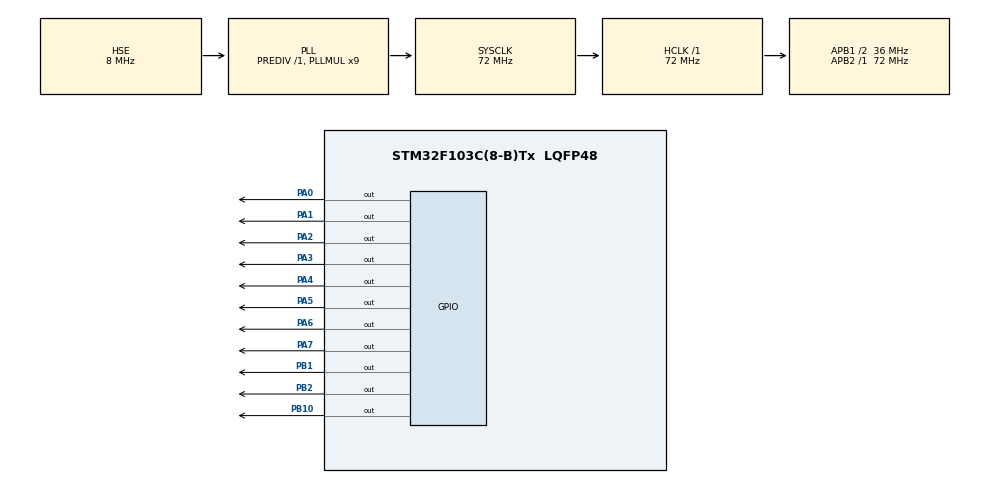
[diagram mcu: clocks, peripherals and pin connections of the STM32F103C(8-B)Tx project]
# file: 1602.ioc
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Mcu.Family=STM32F1
Mcu.Name=STM32F103C(8-B)Tx
Mcu.Package=LQFP48
NVIC.PriorityGroup=NVIC_PRIORITYGROUP_4
PA0-WKUP.Signal=GPIO_Output
PA1.Signal=GPIO_Output
PA13.Mode=Serial_Wire
PA13.Signal=SYS_JTMS-SWDIO
PA14.Mode=Serial_Wire
PA14.Signal=SYS_JTCK-SWCLK
PA2.Signal=GPIO_Output
PA3.Signal=GPIO_Output
PA4.Signal=GPIO_Output
PA5.Signal=GPIO_Output
PA6.Signal=GPIO_Output
PA7.Signal=GPIO_Output
PB1.Signal=GPIO_Output
PB10.Signal=GPIO_Output
PB2.Signal=GPIO_Output
PD0-OSC_IN.Mode=HSE-External-Oscillator
PD0-OSC_IN.Signal=RCC_OSC_IN
PD1-OSC_OUT.Mode=HSE-External-Oscillator
PD1-OSC_OUT.Signal=RCC_OSC_OUT
ProjectManager.HeapSize=0x200
ProjectManager.StackSize=0x400
ProjectManager.TargetToolchain=MDK-ARM V5.32
RCC.AHBFreq_Value=72000000
RCC.APB1CLKDivider=RCC_HCLK_DIV2
RCC.APB1Freq_Value=36000000
RCC.APB1TimFreq_Value=72000000
RCC.APB2Freq_Value=72000000
RCC.APB2TimFreq_Value=72000000
RCC.HCLKFreq_Value=72000000
RCC.PLLMUL=RCC_PLL_MUL9
RCC.PLLSourceVirtual=RCC_PLLSOURCE_HSE
RCC.SYSCLKFreq_VALUE=72000000
RCC.SYSCLKSource=RCC_SYSCLKSOURCE_PLLCLK
RCC.USBFreq_Value=72000000
board=custom

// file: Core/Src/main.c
/* USER CODE BEGIN Header */
/**
  ******************************************************************************
  * @file           : main.c
  * @brief          : Main program body
  ******************************************************************************
  * @attention
  *
  * Copyright (c) 2023 STMicroelectronics.
  * All rights reserved.
  *
  * This software is licensed under terms that can be found in the LICENSE file
  * in the root directory of this software component.
  * If no LICENSE file comes with this software, it is provided AS-IS.
  *
  ******************************************************************************
  */
/* USER CODE END Header */
#include "main.h"
#include "gpio.h"

/* USER CODE BEGIN PM */

#define RS_W_1() HAL_GPIO_WritePin(GPIOB, GPIO_PIN_1, GPIO_PIN_SET)
#define RS_W_0() HAL_GPIO_WritePin(GPIOB, GPIO_PIN_1, GPIO_PIN_RESET)

#define RW_W_1() HAL_GPIO_WritePin(GPIOB, GPIO_PIN_2, GPIO_PIN_SET)
#define RW_W_0() HAL_GPIO_WritePin(GPIOB, GPIO_PIN_2, GPIO_PIN_RESET)

#define EN_W_1() HAL_GPIO_WritePin(GPIOB, GPIO_PIN_10, GPIO_PIN_SET)
#define EN_W_0() HAL_GPIO_WritePin(GPIOB, GPIO_PIN_10, GPIO_PIN_RESET)

#define WRITE_DATA(data) GPIOA->ODR = data

/* USER CODE END PM */

void SystemClock_Config(void);

/* USER CODE BEGIN 0 */
 void delay_us(__IO uint32_t delay) {
    int last, curr, val;
    int temp;

    while (delay != 0) {
        temp = delay > 900 ? 900 : delay;
        last = SysTick->VAL;
        curr = last - 72 * temp;
        if (curr >= 0){
            do{
                val = SysTick->VAL;
            }
            while ((val < last) && (val >= curr));
        } else{
            curr += 72 * 1000;
            do{
                val = SysTick->VAL;
            }
            while ((val <= last) || (val > curr));
        }
        delay -= temp;
    }
}

// 读
void busy_check() {

}

// 写数据
void write_data(char d) {
	RS_W_1();
	RW_W_0();
	EN_W_0();
	WRITE_DATA(d);
	delay_us(1);// 这里保持1us即可
	EN_W_1();
	delay_us(1000); // 这里时间要设置长些，否则不会显示，和51还有些不同
	EN_W_0();
}

// 写地址
void write_cmd(char cmd) {
	RS_W_0();
	RW_W_0();
	EN_W_0();
	WRITE_DATA(cmd);
	delay_us(1);	// 这里保持1us即可
	EN_W_1();
	delay_us(1000); // 这里时间要设置长些，否则不会显示，和51还有些不同
	EN_W_0();
}

void lcd_1602_init() {
	HAL_Delay(15);
	write_cmd(0x38);
	HAL_Delay(5);
	write_cmd(0x38);
	write_cmd(0x08);
	write_cmd(0x01);
	write_cmd(0x06);
	write_cmd(0x0c);
}

void show_line(char row, char col, char *string)
{
	switch(row){
		case 0:
				write_cmd(0x80+col);
				while(*string){
					write_data(*string);
					string++;
				}
				break;

		case 1:
				write_cmd(0x80+0x40+col);
				while(*string){
					write_data(*string);
					string++;
				}
				break;
	}
}

/* USER CODE END 0 */

int main(void)
{

  /* MCU Configuration--------------------------------------------------------*/

  /* Reset of all peripherals, Initializes the Flash interface and the Systick. */
  HAL_Init();

  /* Configure the system clock */
  SystemClock_Config();

  /* Initialize all configured peripherals */
  MX_GPIO_Init();
  /* USER CODE BEGIN 2 */

	char temp[] = "hello everyone!";
	char position = 0x80;
	char dataShow = 'C';
	int i = 0;
	lcd_1602_init();
	/*
	write_cmd(position);//选择要显示的地址
	for(i = 0; i < 15;i ++) {
		write_data(temp[i]);
		HAL_Delay(1);
	}
	*/
	show_line(0, 0, temp);
	show_line(1, 0, "hello, world!");
  /* USER CODE END 2 */

  /* Infinite loop */
  while (1)
  {

  }
}

void SystemClock_Config(void)
{
  RCC_OscInitTypeDef RCC_OscInitStruct = {0};
  RCC_ClkInitTypeDef RCC_ClkInitStruct = {0};

  /** Initializes the RCC Oscillators according to the specified parameters
  * in the RCC_OscInitTypeDef structure.
  */
  RCC_OscInitStruct.OscillatorType = RCC_OSCILLATORTYPE_HSE;
  RCC_OscInitStruct.HSEState = RCC_HSE_ON;
  RCC_OscInitStruct.HSEPredivValue = RCC_HSE_PREDIV_DIV1;
  RCC_OscInitStruct.HSIState = RCC_HSI_ON;
  RCC_OscInitStruct.PLL.PLLState = RCC_PLL_ON;
  RCC_OscInitStruct.PLL.PLLSource = RCC_PLLSOURCE_HSE;
  RCC_OscInitStruct.PLL.PLLMUL = RCC_PLL_MUL9;
  if (HAL_RCC_OscConfig(&RCC_OscInitStruct) != HAL_OK)
  {
    Error_Handler();
  }

  /** Initializes the CPU, AHB and APB buses clocks
  */
  RCC_ClkInitStruct.ClockType = RCC_CLOCKTYPE_HCLK|RCC_CLOCKTYPE_SYSCLK
                              |RCC_CLOCKTYPE_PCLK1|RCC_CLOCKTYPE_PCLK2;
  RCC_ClkInitStruct.SYSCLKSource = RCC_SYSCLKSOURCE_PLLCLK;
  RCC_ClkInitStruct.AHBCLKDivider = RCC_SYSCLK_DIV1;
  RCC_ClkInitStruct.APB1CLKDivider = RCC_HCLK_DIV2;
  RCC_ClkInitStruct.APB2CLKDivider = RCC_HCLK_DIV1;

  if (HAL_RCC_ClockConfig(&RCC_ClkInitStruct, FLASH_LATENCY_2) != HAL_OK)
  {
    Error_Handler();
  }
}

void Error_Handler(void)
{
  __disable_irq();
  while (1)
  {
  }
}
